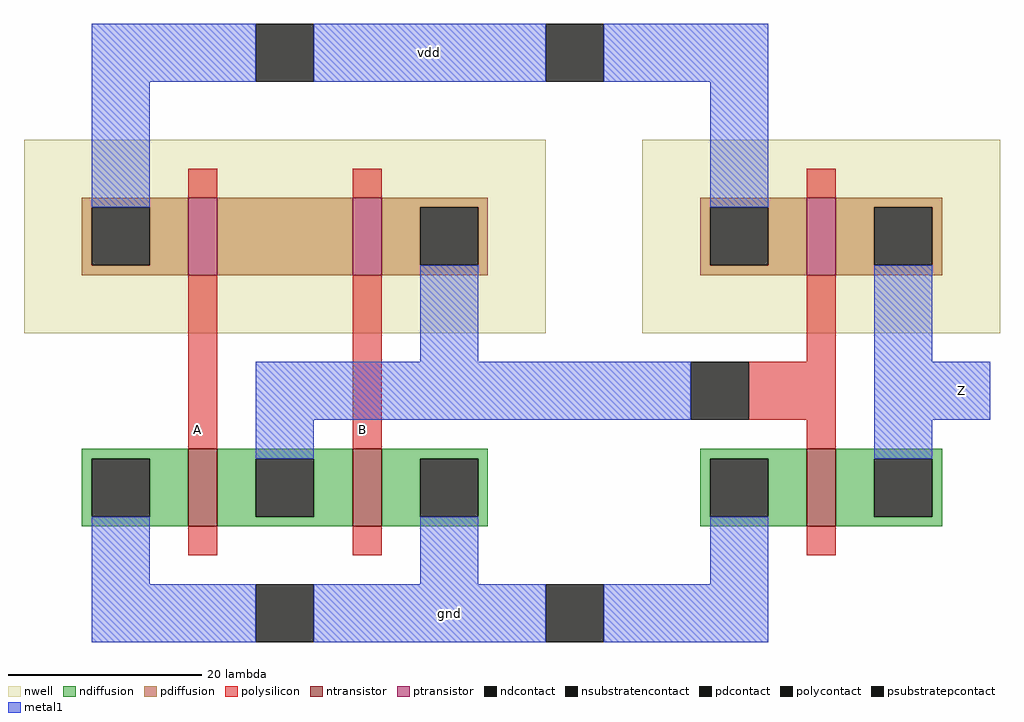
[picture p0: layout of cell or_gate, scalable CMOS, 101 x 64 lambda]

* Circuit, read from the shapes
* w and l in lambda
.subckt or_gate A B Z gnd vdd
M1 n1 A gnd gnd nfet w=8 l=3
M2 gnd B n1 gnd nfet w=8 l=3
M3 Z n1 gnd gnd nfet w=8 l=3
M4 n2 A vdd n3 pfet w=8 l=3
M5 n1 B n2 n3 pfet w=8 l=3
M6 Z n1 vdd n4 pfet w=8 l=3
.ends

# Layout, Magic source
magic
tech scmos
<< nwell >>
rect -6 -6 48 14
rect 58 -6 95 14
<< ntransistor >>
rect 11 -26 14 -18
rect 28 -26 31 -18
rect 75 -26 78 -18
<< ptransistor >>
rect 11 0 14 8
rect 28 0 31 8
rect 75 0 78 8
<< ndiffusion >>
rect 0 -19 11 -18
rect 0 -25 1 -19
rect 7 -25 11 -19
rect 0 -26 11 -25
rect 14 -19 28 -18
rect 14 -25 18 -19
rect 24 -25 28 -19
rect 14 -26 28 -25
rect 31 -19 42 -18
rect 31 -25 35 -19
rect 41 -25 42 -19
rect 31 -26 42 -25
rect 64 -19 75 -18
rect 64 -25 65 -19
rect 71 -25 75 -19
rect 64 -26 75 -25
rect 78 -19 89 -18
rect 78 -25 82 -19
rect 88 -25 89 -19
rect 78 -26 89 -25
<< pdiffusion >>
rect 0 7 11 8
rect 0 1 1 7
rect 7 1 11 7
rect 0 0 11 1
rect 14 0 28 8
rect 31 7 42 8
rect 31 1 35 7
rect 41 1 42 7
rect 31 0 42 1
rect 64 7 75 8
rect 64 1 65 7
rect 71 1 75 7
rect 64 0 75 1
rect 78 7 89 8
rect 78 1 82 7
rect 88 1 89 7
rect 78 0 89 1
<< ndcontact >>
rect 1 -25 7 -19
rect 18 -25 24 -19
rect 35 -25 41 -19
rect 65 -25 71 -19
rect 82 -25 88 -19
<< pdcontact >>
rect 1 1 7 7
rect 35 1 41 7
rect 65 1 71 7
rect 82 1 88 7
<< psubstratepcontact >>
rect 18 -38 24 -32
rect 48 -38 54 -32
<< nsubstratencontact >>
rect 18 20 24 26
rect 48 20 54 26
<< polysilicon >>
rect 11 8 14 11
rect 28 8 31 11
rect 75 8 78 11
rect 11 -18 14 0
rect 28 -18 31 0
rect 75 -9 78 0
rect 69 -15 78 -9
rect 75 -18 78 -15
rect 11 -29 14 -26
rect 28 -29 31 -26
rect 75 -29 78 -26
<< polycontact >>
rect 63 -15 69 -9
<< metal1 >>
rect 1 20 18 26
rect 24 20 48 26
rect 54 20 71 26
rect 1 7 7 20
rect 65 7 71 20
rect 35 -9 41 1
rect 82 -9 88 1
rect 18 -15 63 -9
rect 82 -15 94 -9
rect 18 -19 24 -15
rect 82 -19 88 -15
rect 1 -32 7 -25
rect 35 -32 41 -25
rect 65 -32 71 -25
rect 1 -38 18 -32
rect 24 -38 48 -32
rect 54 -38 71 -32
<< labels >>
rlabel metal1 36 23 36 23 5 vdd
rlabel polysilicon 12 -16 12 -16 1 A
rlabel polysilicon 29 -16 29 -16 1 B
rlabel metal1 38 -35 38 -35 1 gnd
rlabel metal1 91 -12 91 -12 7 Z
<< end >>
